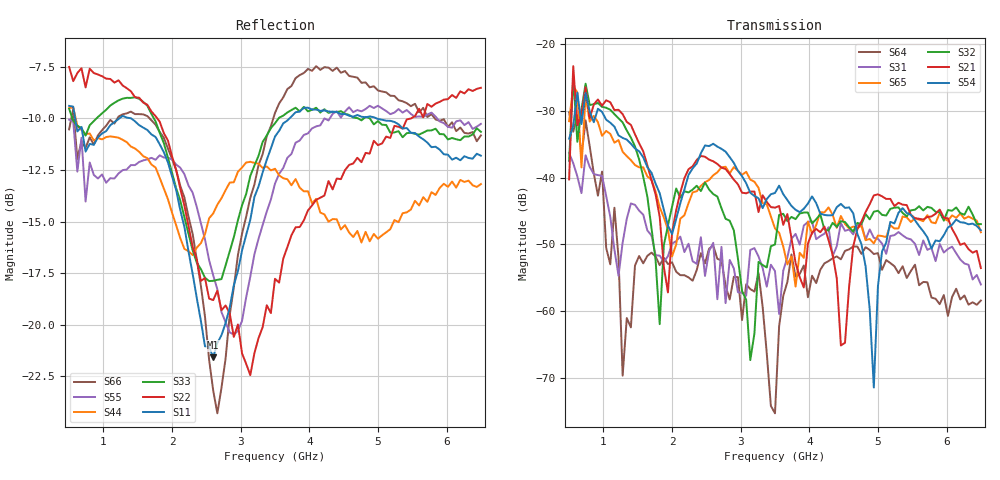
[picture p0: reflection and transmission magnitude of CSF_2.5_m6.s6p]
!Keysight Technologies,M9804A,MY58100912,A.14.10.03
!Date: Thursday, April 27, 2023 10:28:33
!Correction: S11(C  6-Port  )
!S12(C  6-Port  )
!S13(C  6-Port  )
!S14(C  6-Port  )
!S15(C  6-Port  )
!S16(C  6-Port  )
!S21(C  6-Port  )
!S22(C  6-Port  )
!S23(C  6-Port  )
!S24(C  6-Port  )
!S25(C  6-Port  )
!S26(C  6-Port  )
!S31(C  6-Port  )
!S32(C  6-Port  )
!S33(C  6-Port  )
!S34(C  6-Port  )
!S35(C  6-Port  )
!S36(C  6-Port  )
!S41(C  6-Port  )
!S42(C  6-Port  )
!S43(C  6-Port  )
!S44(C  6-Port  )
!S45(C  6-Port  )
!S46(C  6-Port  )
!S51(C  6-Port  )
!S52(C  6-Port  )
!S53(C  6-Port  )
!S54(C  6-Port  )
!S55(C  6-Port  )
!S56(C  6-Port  )
!S61(C  6-Port  )
!S62(C  6-Port  )
!S63(C  6-Port  )
!S64(C  6-Port  )
!S65(C  6-Port  )
!S66(C  6-Port  )
!S6P File: Measurement: :
# Hz S  RI  R 50
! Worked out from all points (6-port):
!   101 points, 500 MHz to 6.5 GHz, reference 50 ohm
!   strongest paths, dB at 500 MHz, 2 GHz, 3.5 GHz, 5 GHz, 6.5 GHz:
!     S54: -34.2, -48.5, -42.3, -56.2, -47.9
!     S21: -40.3, -48.2, -44.5, -42.5, -53.6
!     S32: -37.5, -44.4, -50.0, -45.0, -47.0
!     S65: -31.5, -51.8, -47.6, -48.7, -48.2
!     S31: -36.3, -49.9, -54.0, -49.2, -56.0
!     S64: -30.2, -52.7, -75.3, -51.3, -58.4
!   lowest |S11| = -21.6 dB at 2.6 GHz (marker M1), VSWR 1.18, Z = 42.5 + j2.04 ohm
!   |S11| at or under -10 dB: 588 MHz to 1.236 GHz (647.8 MHz wide, 71 % of centre); 1.399 GHz to 3.715 GHz (2.316 GHz wide, 90.6 % of centre); 4.974 GHz to end of sweep
